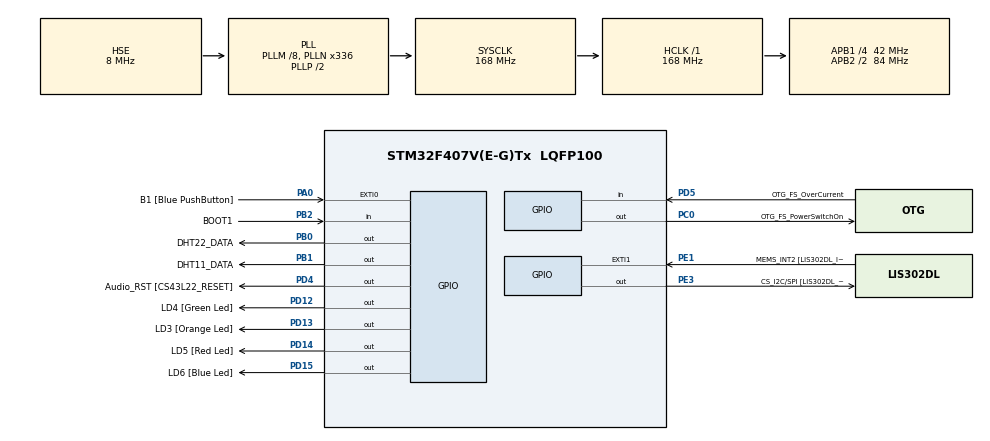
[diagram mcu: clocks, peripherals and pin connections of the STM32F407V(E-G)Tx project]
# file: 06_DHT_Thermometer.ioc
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Mcu.Family=STM32F4
Mcu.Name=STM32F407V(E-G)Tx
Mcu.Package=LQFP100
NVIC.PriorityGroup=NVIC_PRIORITYGROUP_0
PA0-WKUP.GPIO_Label=B1 [Blue PushButton]
PA0-WKUP.Signal=GPXTI0
PA10.GPIO_Label=OTG_FS_ID
PA10.GPIO_Mode=GPIO_MODE_AF_PP
PA10.GPIO_PuPd=GPIO_NOPULL
PA10.GPIO_Speed=GPIO_SPEED_FREQ_LOW
PA10.Signal=USB_OTG_FS_ID
PA11.GPIO_Label=OTG_FS_DM
PA11.GPIO_Mode=GPIO_MODE_AF_PP
PA11.GPIO_PuPd=GPIO_NOPULL
PA11.GPIO_Speed=GPIO_SPEED_FREQ_LOW
PA11.Signal=USB_OTG_FS_DM
PA12.GPIO_Label=OTG_FS_DP
PA12.GPIO_Mode=GPIO_MODE_AF_PP
PA12.GPIO_PuPd=GPIO_NOPULL
PA12.GPIO_Speed=GPIO_SPEED_FREQ_LOW
PA12.Signal=USB_OTG_FS_DP
PA13.GPIO_Label=SWDIO
PA13.Signal=SYS_JTMS-SWDIO
PA14.GPIO_Label=SWCLK
PA14.Signal=SYS_JTCK-SWCLK
PA4.GPIO_Label=I2S3_WS [CS43L22_LRCK]
PA4.GPIO_Mode=GPIO_MODE_AF_PP
PA4.GPIO_PuPd=GPIO_NOPULL
PA4.GPIO_Speed=GPIO_SPEED_FREQ_LOW
PA4.Signal=I2S3_WS
PA5.GPIO_Label=SPI1_SCK [LIS302DL_SCL/SPC]
PA5.GPIO_Mode=GPIO_MODE_AF_PP
PA5.GPIO_PuPd=GPIO_NOPULL
PA5.GPIO_Speed=GPIO_SPEED_FREQ_LOW
PA5.Signal=SPI1_SCK
PA6.GPIO_Label=SPI1_MISO [LIS302DL_SDO]
PA6.GPIO_Mode=GPIO_MODE_AF_PP
PA6.GPIO_PuPd=GPIO_NOPULL
PA6.GPIO_Speed=GPIO_SPEED_FREQ_LOW
PA6.Signal=SPI1_MISO
PA7.GPIO_Label=SPI1_MOSI [LIS302DL_SDA/SDI/SDO]
PA7.GPIO_Mode=GPIO_MODE_AF_PP
PA7.GPIO_PuPd=GPIO_NOPULL
PA7.GPIO_Speed=GPIO_SPEED_FREQ_LOW
PA7.Signal=SPI1_MOSI
PA9.GPIO_Label=VBUS_FS
PA9.GPIO_Mode=GPIO_MODE_INPUT
PA9.GPIO_PuPd=GPIO_NOPULL
PA9.Signal=USB_OTG_FS_VBUS
PB0.GPIO_Label=DHT22_DATA
PB0.GPIO_Mode=GPIO_MODE_OUTPUT_OD
PB0.GPIO_PuPd=GPIO_PULLUP
PB0.GPIO_Speed=GPIO_SPEED_FREQ_LOW
PB0.PinState=GPIO_PIN_SET
PB0.Signal=GPIO_Output
PB1.GPIO_Label=DHT11_DATA
PB1.GPIO_Mode=GPIO_MODE_OUTPUT_OD
PB1.GPIO_PuPd=GPIO_PULLUP
PB1.GPIO_Speed=GPIO_SPEED_FREQ_LOW
PB1.PinState=GPIO_PIN_SET
PB1.Signal=GPIO_Output
PB10.GPIO_Label=CLK_IN [MP45DT02_CLK]
PB10.GPIO_Mode=GPIO_MODE_AF_PP
PB10.GPIO_PuPd=GPIO_NOPULL
PB10.GPIO_Speed=GPIO_SPEED_FREQ_LOW
PB10.Signal=I2S2_CK
PB2.GPIO_Label=BOOT1
PB2.GPIO_Mode=GPIO_MODE_INPUT
PB2.GPIO_PuPd=GPIO_NOPULL
PB2.Signal=GPIO_Input
PB3.GPIO_Label=SWO
PB3.Signal=SYS_JTDO-SWO
PB6.GPIO_Label=Audio_SCL [CS43L22_SCL]
PB6.GPIO_Mode=GPIO_MODE_AF_OD
PB6.GPIO_PuPd=GPIO_NOPULL
PB6.GPIO_Speed=GPIO_SPEED_FREQ_LOW
PB6.Signal=I2C1_SCL
PB9.GPIO_Label=Audio_SDA [CS43L22_SDA]
PB9.GPIO_Mode=GPIO_MODE_AF_OD
PB9.GPIO_PuPd=GPIO_NOPULL
PB9.GPIO_Speed=GPIO_SPEED_FREQ_LOW
PB9.Signal=I2C1_SDA
PC0.GPIO_Label=OTG_FS_PowerSwitchOn
PC0.GPIO_PuPd=GPIO_NOPULL
PC0.GPIO_Speed=GPIO_SPEED_FREQ_LOW
PC0.PinState=GPIO_PIN_SET
PC0.Signal=GPIO_Output
PC10.GPIO_Label=I2S3_SCK [CS43L22_SCLK]
PC10.GPIO_Mode=GPIO_MODE_AF_PP
PC10.GPIO_PuPd=GPIO_NOPULL
PC10.GPIO_Speed=GPIO_SPEED_FREQ_LOW
PC10.Signal=I2S3_CK
PC12.GPIO_Label=I2S3_SD [CS43L22_SDIN]
PC12.GPIO_Mode=GPIO_MODE_AF_PP
PC12.GPIO_PuPd=GPIO_NOPULL
PC12.GPIO_Speed=GPIO_SPEED_FREQ_LOW
PC12.Signal=I2S3_SD
PC14-OSC32_IN.GPIO_Label=PC14-OSC32_IN
PC14-OSC32_IN.Signal=RCC_OSC32_IN
PC15-OSC32_OUT.GPIO_Label=PC15-OSC32_OUT
PC15-OSC32_OUT.Signal=RCC_OSC32_OUT
PC3.GPIO_Label=PDM_OUT [MP45DT02_DOUT]
PC3.GPIO_Mode=GPIO_MODE_AF_PP
PC3.GPIO_PuPd=GPIO_NOPULL
PC3.GPIO_Speed=GPIO_SPEED_FREQ_LOW
PC3.Signal=I2S2_SD
PC7.GPIO_Label=I2S3_MCK [CS43L22_MCLK]
PC7.GPIO_Mode=GPIO_MODE_AF_PP
PC7.GPIO_PuPd=GPIO_NOPULL
PC7.GPIO_Speed=GPIO_SPEED_FREQ_LOW
PC7.Signal=I2S3_MCK
PD12.GPIO_Label=LD4 [Green Led]
PD12.GPIO_PuPd=GPIO_NOPULL
PD12.GPIO_Speed=GPIO_SPEED_FREQ_LOW
PD12.Signal=GPIO_Output
PD13.GPIO_Label=LD3 [Orange Led]
PD13.GPIO_PuPd=GPIO_NOPULL
PD13.GPIO_Speed=GPIO_SPEED_FREQ_LOW
PD13.Signal=GPIO_Output
PD14.GPIO_Label=LD5 [Red Led]
PD14.GPIO_PuPd=GPIO_NOPULL
PD14.GPIO_Speed=GPIO_SPEED_FREQ_LOW
PD14.Signal=GPIO_Output
PD15.GPIO_Label=LD6 [Blue Led]
PD15.GPIO_PuPd=GPIO_NOPULL
PD15.GPIO_Speed=GPIO_SPEED_FREQ_LOW
PD15.Signal=GPIO_Output
PD4.GPIO_Label=Audio_RST [CS43L22_RESET]
PD4.GPIO_PuPd=GPIO_NOPULL
PD4.GPIO_Speed=GPIO_SPEED_FREQ_LOW
PD4.Signal=GPIO_Output
PD5.GPIO_Label=OTG_FS_OverCurrent
PD5.GPIO_Mode=GPIO_MODE_INPUT
PD5.GPIO_PuPd=GPIO_NOPULL
PD5.Signal=GPIO_Input
PE1.GPIO_Label=MEMS_INT2 [LIS302DL_INT2]
PE1.GPIO_ModeDefaultEXTI=GPIO_MODE_EVT_RISING
PE1.GPIO_PuPd=GPIO_NOPULL
PE1.Signal=GPXTI1
PE3.GPIO_Label=CS_I2C/SPI [LIS302DL_CS_I2C/SPI]
PE3.GPIO_PuPd=GPIO_NOPULL
PE3.GPIO_Speed=GPIO_SPEED_FREQ_LOW
PE3.Signal=GPIO_Output
PH0-OSC_IN.GPIO_Label=PH0-OSC_IN
PH0-OSC_IN.Mode=HSE-External-Oscillator
PH0-OSC_IN.Signal=RCC_OSC_IN
PH1-OSC_OUT.GPIO_Label=PH1-OSC_OUT
PH1-OSC_OUT.Mode=HSE-External-Oscillator
PH1-OSC_OUT.Signal=RCC_OSC_OUT
ProjectManager.HeapSize=0x200
ProjectManager.StackSize=0x400
ProjectManager.TargetToolchain=STM32CubeIDE
RCC.48MHZClocksFreq_Value=48000000
RCC.AHBFreq_Value=168000000
RCC.APB1CLKDivider=RCC_HCLK_DIV4
RCC.APB1Freq_Value=42000000
RCC.APB1TimFreq_Value=84000000
RCC.APB2CLKDivider=RCC_HCLK_DIV2
RCC.APB2Freq_Value=84000000
RCC.APB2TimFreq_Value=168000000
RCC.CortexFreq_Value=168000000
RCC.HCLKFreq_Value=168000000
RCC.HSE_VALUE=8000000
RCC.HSI_VALUE=16000000
RCC.LSE_VALUE=32768
RCC.PLLM=8
RCC.PLLN=336
RCC.PLLP=RCC_PLLP_DIV2
RCC.PLLQ=7
RCC.PLLSourceVirtual=RCC_PLLSOURCE_HSE
RCC.SYSCLKFreq_VALUE=168000000
RCC.SYSCLKSource=RCC_SYSCLKSOURCE_PLLCLK
RCC.VCOOutputFreq_Value=336000000
board=STM32F407G-DISC1

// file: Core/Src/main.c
/* USER CODE BEGIN Header */
/**
  ******************************************************************************
  * @file           : main.c
  * @brief          : Термометр: STM32F407 Discovery + DHT22 + DHT11
  *
  *  Подключение (питание датчиков - 3V, НЕ 5V):
  *
  *      DHT22 : VCC -> 3V,  DATA -> PB0,  GND -> GND
  *      DHT11 : VCC -> 3V,  DATA -> PB1,  GND -> GND
  *      Если у датчика голые 4 ножки (не плата-модуль) - поставь резистор
  *      4.7..10 кОм между VCC и DATA. У плат-модулей с 3 ножками он уже есть.
  *
  *      USB-UART адаптер (необязательно): PA2 -> RX адаптера, GND -> GND,
  *      терминал на ПК: 115200 бод, 8N1.
  *
  *  Что видно без адаптера:
  *      - светодиоды на плате (см. Update_Leds ниже);
  *      - в отладке (Debug) -> вкладка Live Expressions: dht22 / dht11.
  ******************************************************************************
  * @attention
  *
  * Copyright (c) 2026 STMicroelectronics.
  * All rights reserved.
  *
  * This software is licensed under terms that can be found in the LICENSE file
  * in the root directory of this software component.
  * If no LICENSE file comes with this software, it is provided AS-IS.
  *
  ******************************************************************************
  */
/* USER CODE END Header */
#include "main.h"

/* USER CODE BEGIN Includes */
#include "dht.h"
#include "uart_log.h"
/* USER CODE END Includes */

/* USER CODE BEGIN PD */
#define MEASURE_PERIOD_MS   2000U   /* DHT22 нельзя опрашивать чаще, чем раз в 2 с */

/* Границы цветовой индикации, в десятых долях градуса (180 = 18.0 C) */
#define T_COLD_X10          180     /* ниже - синий светодиод   */
#define T_COMFORT_X10       260     /* до этой - зелёный        */
#define T_WARM_X10          300     /* до этой - оранжевый, выше - красный */
/* USER CODE END PD */

/* USER CODE BEGIN PV */
/* Глобальные - чтобы их можно было смотреть в Live Expressions при отладке. */
DHT_Handle dht22;
DHT_Handle dht11;
DHT_Status dht22_status;
DHT_Status dht11_status;
/* USER CODE END PV */

void SystemClock_Config(void);
static void MX_GPIO_Init(void);
/* USER CODE BEGIN PFP */
static void Print_Reading(const char *name, const DHT_Handle *d, DHT_Status st);
static void Update_Leds(void);
/* USER CODE END PFP */

int main(void)
{

  /* MCU Configuration--------------------------------------------------------*/

  /* Reset of all peripherals, Initializes the Flash interface and the Systick. */
  HAL_Init();

  /* Configure the system clock */
  SystemClock_Config();

  /* Initialize all configured peripherals */
  MX_GPIO_Init();
  /* USER CODE BEGIN 2 */
  uart_log_init(115200);

  DHT_Init(&dht22, DHT22_DATA_GPIO_Port, DHT22_DATA_Pin, DHT_TYPE_DHT22);
  DHT_Init(&dht11, DHT11_DATA_GPIO_Port, DHT11_DATA_Pin, DHT_TYPE_DHT11);

  uart_log_str("\r\n=== STM32F407 thermometer: DHT22 (PB0) + DHT11 (PB1) ===\r\n");

  HAL_Delay(1500);   /* после подачи питания датчикам нужна ~1 с на старт */
  /* USER CODE END 2 */

  /* Infinite loop */
  while (1)
  {

    /* USER CODE BEGIN 3 */
    dht22_status = DHT_Read(&dht22);
    HAL_Delay(100);
    dht11_status = DHT_Read(&dht11);

    Print_Reading("DHT22", &dht22, dht22_status);
    uart_log_str("   |   ");
    Print_Reading("DHT11", &dht11, dht11_status);
    uart_log_str("\r\n");

    Update_Leds();

    HAL_Delay(MEASURE_PERIOD_MS);
  }
  /* USER CODE END 3 */
}

void SystemClock_Config(void)
{
  RCC_OscInitTypeDef RCC_OscInitStruct = {0};
  RCC_ClkInitTypeDef RCC_ClkInitStruct = {0};

  /** Configure the main internal regulator output voltage
  */
  __HAL_RCC_PWR_CLK_ENABLE();
  __HAL_PWR_VOLTAGESCALING_CONFIG(PWR_REGULATOR_VOLTAGE_SCALE1);

  /** Initializes the RCC Oscillators according to the specified parameters
  * in the RCC_OscInitTypeDef structure.
  */
  RCC_OscInitStruct.OscillatorType = RCC_OSCILLATORTYPE_HSE;
  RCC_OscInitStruct.HSEState = RCC_HSE_ON;
  RCC_OscInitStruct.PLL.PLLState = RCC_PLL_ON;
  RCC_OscInitStruct.PLL.PLLSource = RCC_PLLSOURCE_HSE;
  RCC_OscInitStruct.PLL.PLLM = 8;
  RCC_OscInitStruct.PLL.PLLN = 336;
  RCC_OscInitStruct.PLL.PLLP = RCC_PLLP_DIV2;
  RCC_OscInitStruct.PLL.PLLQ = 7;
  if (HAL_RCC_OscConfig(&RCC_OscInitStruct) != HAL_OK)
  {
    Error_Handler();
  }

  /** Initializes the CPU, AHB and APB buses clocks
  */
  RCC_ClkInitStruct.ClockType = RCC_CLOCKTYPE_HCLK|RCC_CLOCKTYPE_SYSCLK
                              |RCC_CLOCKTYPE_PCLK1|RCC_CLOCKTYPE_PCLK2;
  RCC_ClkInitStruct.SYSCLKSource = RCC_SYSCLKSOURCE_PLLCLK;
  RCC_ClkInitStruct.AHBCLKDivider = RCC_SYSCLK_DIV1;
  RCC_ClkInitStruct.APB1CLKDivider = RCC_HCLK_DIV4;
  RCC_ClkInitStruct.APB2CLKDivider = RCC_HCLK_DIV2;

  if (HAL_RCC_ClockConfig(&RCC_ClkInitStruct, FLASH_LATENCY_5) != HAL_OK)
  {
    Error_Handler();
  }
}

static void MX_GPIO_Init(void)
{
  GPIO_InitTypeDef GPIO_InitStruct = {0};

  /* GPIO Ports Clock Enable */
  __HAL_RCC_GPIOE_CLK_ENABLE();
  __HAL_RCC_GPIOC_CLK_ENABLE();
  __HAL_RCC_GPIOH_CLK_ENABLE();
  __HAL_RCC_GPIOA_CLK_ENABLE();
  __HAL_RCC_GPIOB_CLK_ENABLE();
  __HAL_RCC_GPIOD_CLK_ENABLE();

  /*Configure GPIO pin Output Level */
  HAL_GPIO_WritePin(CS_I2C_SPI_GPIO_Port, CS_I2C_SPI_Pin, GPIO_PIN_RESET);

  /*Configure GPIO pin Output Level */
  HAL_GPIO_WritePin(OTG_FS_PowerSwitchOn_GPIO_Port, OTG_FS_PowerSwitchOn_Pin, GPIO_PIN_SET);

  /*Configure GPIO pin Output Level */
  HAL_GPIO_WritePin(GPIOB, DHT22_DATA_Pin|DHT11_DATA_Pin, GPIO_PIN_SET);

  /*Configure GPIO pin Output Level */
  HAL_GPIO_WritePin(GPIOD, LD4_Pin|LD3_Pin|LD5_Pin|LD6_Pin
                          |Audio_RST_Pin, GPIO_PIN_RESET);

  /*Configure GPIO pin : CS_I2C_SPI_Pin */
  GPIO_InitStruct.Pin = CS_I2C_SPI_Pin;
  GPIO_InitStruct.Mode = GPIO_MODE_OUTPUT_PP;
  GPIO_InitStruct.Pull = GPIO_NOPULL;
  GPIO_InitStruct.Speed = GPIO_SPEED_FREQ_LOW;
  HAL_GPIO_Init(CS_I2C_SPI_GPIO_Port, &GPIO_InitStruct);

  /*Configure GPIO pin : OTG_FS_PowerSwitchOn_Pin */
  GPIO_InitStruct.Pin = OTG_FS_PowerSwitchOn_Pin;
  GPIO_InitStruct.Mode = GPIO_MODE_OUTPUT_PP;
  GPIO_InitStruct.Pull = GPIO_NOPULL;
  GPIO_InitStruct.Speed = GPIO_SPEED_FREQ_LOW;
  HAL_GPIO_Init(OTG_FS_PowerSwitchOn_GPIO_Port, &GPIO_InitStruct);

  /*Configure GPIO pin : PDM_OUT_Pin */
  GPIO_InitStruct.Pin = PDM_OUT_Pin;
  GPIO_InitStruct.Mode = GPIO_MODE_AF_PP;
  GPIO_InitStruct.Pull = GPIO_NOPULL;
  GPIO_InitStruct.Speed = GPIO_SPEED_FREQ_LOW;
  GPIO_InitStruct.Alternate = GPIO_AF5_SPI2;
  HAL_GPIO_Init(PDM_OUT_GPIO_Port, &GPIO_InitStruct);

  /*Configure GPIO pin : B1_Pin */
  GPIO_InitStruct.Pin = B1_Pin;
  GPIO_InitStruct.Mode = GPIO_MODE_IT_RISING;
  GPIO_InitStruct.Pull = GPIO_NOPULL;
  HAL_GPIO_Init(B1_GPIO_Port, &GPIO_InitStruct);

  /*Configure GPIO pin : I2S3_WS_Pin */
  GPIO_InitStruct.Pin = I2S3_WS_Pin;
  GPIO_InitStruct.Mode = GPIO_MODE_AF_PP;
  GPIO_InitStruct.Pull = GPIO_NOPULL;
  GPIO_InitStruct.Speed = GPIO_SPEED_FREQ_LOW;
  GPIO_InitStruct.Alternate = GPIO_AF6_SPI3;
  HAL_GPIO_Init(I2S3_WS_GPIO_Port, &GPIO_InitStruct);

  /*Configure GPIO pins : SPI1_SCK_Pin SPI1_MISO_Pin SPI1_MOSI_Pin */
  GPIO_InitStruct.Pin = SPI1_SCK_Pin|SPI1_MISO_Pin|SPI1_MOSI_Pin;
  GPIO_InitStruct.Mode = GPIO_MODE_AF_PP;
  GPIO_InitStruct.Pull = GPIO_NOPULL;
  GPIO_InitStruct.Speed = GPIO_SPEED_FREQ_LOW;
  GPIO_InitStruct.Alternate = GPIO_AF5_SPI1;
  HAL_GPIO_Init(GPIOA, &GPIO_InitStruct);

  /*Configure GPIO pins : DHT22_DATA_Pin DHT11_DATA_Pin */
  GPIO_InitStruct.Pin = DHT22_DATA_Pin|DHT11_DATA_Pin;
  GPIO_InitStruct.Mode = GPIO_MODE_OUTPUT_OD;
  GPIO_InitStruct.Pull = GPIO_PULLUP;
  GPIO_InitStruct.Speed = GPIO_SPEED_FREQ_LOW;
  HAL_GPIO_Init(GPIOB, &GPIO_InitStruct);

  /*Configure GPIO pin : BOOT1_Pin */
  GPIO_InitStruct.Pin = BOOT1_Pin;
  GPIO_InitStruct.Mode = GPIO_MODE_INPUT;
  GPIO_InitStruct.Pull = GPIO_NOPULL;
  HAL_GPIO_Init(BOOT1_GPIO_Port, &GPIO_InitStruct);

  /*Configure GPIO pin : CLK_IN_Pin */
  GPIO_InitStruct.Pin = CLK_IN_Pin;
  GPIO_InitStruct.Mode = GPIO_MODE_AF_PP;
  GPIO_InitStruct.Pull = GPIO_NOPULL;
  GPIO_InitStruct.Speed = GPIO_SPEED_FREQ_LOW;
  GPIO_InitStruct.Alternate = GPIO_AF5_SPI2;
  HAL_GPIO_Init(CLK_IN_GPIO_Port, &GPIO_InitStruct);

  /*Configure GPIO pins : LD4_Pin LD3_Pin LD5_Pin LD6_Pin
                           Audio_RST_Pin */
  GPIO_InitStruct.Pin = LD4_Pin|LD3_Pin|LD5_Pin|LD6_Pin
                          |Audio_RST_Pin;
  GPIO_InitStruct.Mode = GPIO_MODE_OUTPUT_PP;
  GPIO_InitStruct.Pull = GPIO_NOPULL;
  GPIO_InitStruct.Speed = GPIO_SPEED_FREQ_LOW;
  HAL_GPIO_Init(GPIOD, &GPIO_InitStruct);

  /*Configure GPIO pins : I2S3_MCK_Pin I2S3_SCK_Pin I2S3_SD_Pin */
  GPIO_InitStruct.Pin = I2S3_MCK_Pin|I2S3_SCK_Pin|I2S3_SD_Pin;
  GPIO_InitStruct.Mode = GPIO_MODE_AF_PP;
  GPIO_InitStruct.Pull = GPIO_NOPULL;
  GPIO_InitStruct.Speed = GPIO_SPEED_FREQ_LOW;
  GPIO_InitStruct.Alternate = GPIO_AF6_SPI3;
  HAL_GPIO_Init(GPIOC, &GPIO_InitStruct);

  /*Configure GPIO pin : VBUS_FS_Pin */
  GPIO_InitStruct.Pin = VBUS_FS_Pin;
  GPIO_InitStruct.Mode = GPIO_MODE_INPUT;
  GPIO_InitStruct.Pull = GPIO_NOPULL;
  HAL_GPIO_Init(VBUS_FS_GPIO_Port, &GPIO_InitStruct);

  /*Configure GPIO pins : OTG_FS_ID_Pin OTG_FS_DM_Pin OTG_FS_DP_Pin */
  GPIO_InitStruct.Pin = OTG_FS_ID_Pin|OTG_FS_DM_Pin|OTG_FS_DP_Pin;
  GPIO_InitStruct.Mode = GPIO_MODE_AF_PP;
  GPIO_InitStruct.Pull = GPIO_NOPULL;
  GPIO_InitStruct.Speed = GPIO_SPEED_FREQ_LOW;
  GPIO_InitStruct.Alternate = GPIO_AF10_OTG_FS;
  HAL_GPIO_Init(GPIOA, &GPIO_InitStruct);

  /*Configure GPIO pin : OTG_FS_OverCurrent_Pin */
  GPIO_InitStruct.Pin = OTG_FS_OverCurrent_Pin;
  GPIO_InitStruct.Mode = GPIO_MODE_INPUT;
  GPIO_InitStruct.Pull = GPIO_NOPULL;
  HAL_GPIO_Init(OTG_FS_OverCurrent_GPIO_Port, &GPIO_InitStruct);

  /*Configure GPIO pins : Audio_SCL_Pin Audio_SDA_Pin */
  GPIO_InitStruct.Pin = Audio_SCL_Pin|Audio_SDA_Pin;
  GPIO_InitStruct.Mode = GPIO_MODE_AF_OD;
  GPIO_InitStruct.Pull = GPIO_NOPULL;
  GPIO_InitStruct.Speed = GPIO_SPEED_FREQ_LOW;
  GPIO_InitStruct.Alternate = GPIO_AF4_I2C1;
  HAL_GPIO_Init(GPIOB, &GPIO_InitStruct);

  /*Configure GPIO pin : MEMS_INT2_Pin */
  GPIO_InitStruct.Pin = MEMS_INT2_Pin;
  GPIO_InitStruct.Mode = GPIO_MODE_EVT_RISING;
  GPIO_InitStruct.Pull = GPIO_NOPULL;
  HAL_GPIO_Init(MEMS_INT2_GPIO_Port, &GPIO_InitStruct);

}

/* USER CODE BEGIN 4 */

/* Печатает одну строку вида "DHT22: T = 24.3 C, H = 45.1 %" или причину ошибки. */
static void Print_Reading(const char *name, const DHT_Handle *d, DHT_Status st)
{
  uart_log_str(name);
  if (st == DHT_OK)
  {
    uart_log_str(": T = ");
    uart_log_fixed1(d->temp_x10);
    uart_log_str(" C, H = ");
    uart_log_fixed1((int32_t)d->hum_x10);
    uart_log_str(" %");
  }
  else
  {
    uart_log_str(": ERROR - ");
    uart_log_str(DHT_StatusText(st));
  }
}

/*
 * Индикация светодиодами на плате:
 *   синий   (LD6) - холодно   (< 18 C)
 *   зелёный (LD4) - комфортно (18..26 C)
 *   оранжевый (LD3) - тепло   (26..30 C)
 *   красный (LD5) - жарко     (> 30 C)
 *   все 4 мигают 3 раза - оба датчика не ответили (проверь проводку).
 * Цвет берётся по DHT22 (он точнее); если он молчит - по DHT11.
 */
static void Update_Leds(void)
{
  const uint16_t all_leds = LD4_Pin | LD3_Pin | LD5_Pin | LD6_Pin;

  HAL_GPIO_WritePin(GPIOD, all_leds, GPIO_PIN_RESET);

  if (dht22_status != DHT_OK && dht11_status != DHT_OK)
  {
    for (uint8_t i = 0; i < 3U; i++)
    {
      HAL_GPIO_WritePin(GPIOD, all_leds, GPIO_PIN_SET);
      HAL_Delay(100);
      HAL_GPIO_WritePin(GPIOD, all_leds, GPIO_PIN_RESET);
      HAL_Delay(100);
    }
    return;
  }

  int16_t t = (dht22_status == DHT_OK) ? dht22.temp_x10 : dht11.temp_x10;
  uint16_t led;

  if (t < T_COLD_X10)         { led = LD6_Pin; }   /* синий */
  else if (t < T_COMFORT_X10) { led = LD4_Pin; }   /* зелёный */
  else if (t < T_WARM_X10)    { led = LD3_Pin; }   /* оранжевый */
  else                        { led = LD5_Pin; }   /* красный */

  HAL_GPIO_WritePin(GPIOD, led, GPIO_PIN_SET);
}
/* USER CODE END 4 */

void Error_Handler(void)
{
  __disable_irq();
  while (1)
  {
  }
}
